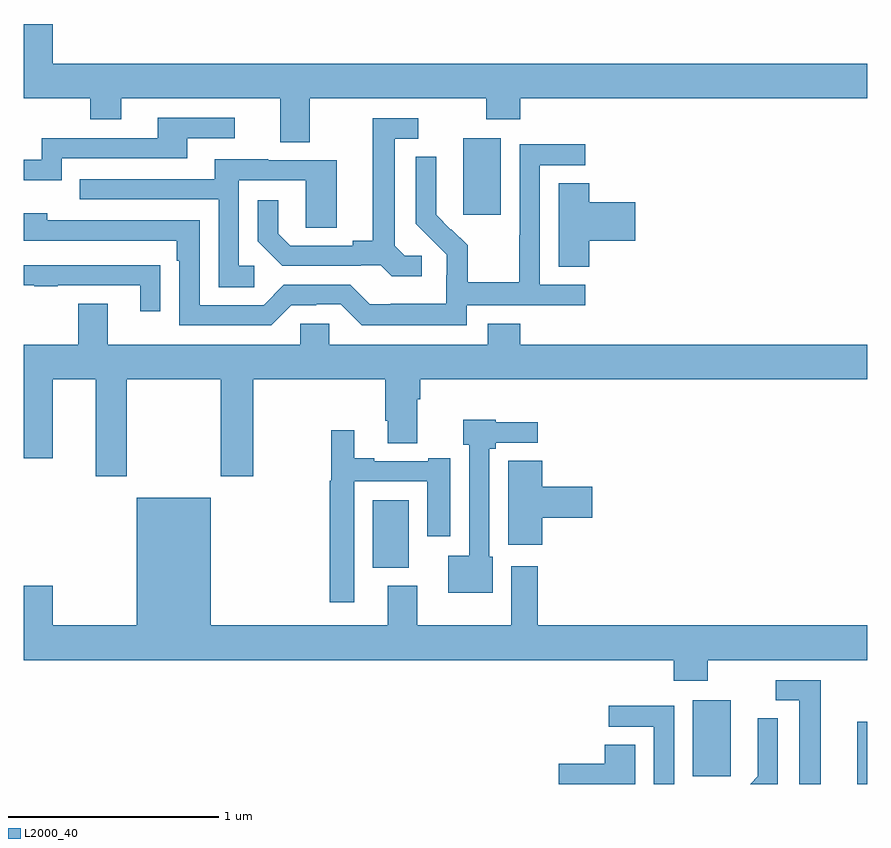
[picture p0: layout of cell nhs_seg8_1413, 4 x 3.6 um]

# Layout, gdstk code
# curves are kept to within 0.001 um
import gdstk
lib = gdstk.Library(unit=1e-6, precision=1e-09)
def R(c, l, rs):  # rectangles x0, y0, x1, y1
    for r in rs: c.add(gdstk.rectangle(r[:2], r[2:], *l))
def P(c, l, *ps):  # polygons
    for p in ps: c.add(gdstk.Polygon(p, *l))
L2000_40 = (2000, 40)

nhs_seg8_1413 = lib.new_cell('nhs_seg8_1413')
R(nhs_seg8_1413, L2000_40, [(204.953,1127.9,205,1128.195), (204.173,1127.937,204.352,1128.298), (202.655,1128.926,202.825,1129.246), (203.084,1130.601,203.263,1130.962)])
P(nhs_seg8_1413, L2000_40, [(202.357,1131.152),(203.194,1131.152),(203.194,1131.053),(203.354,1131.053),(203.354,1131.152),(205,1131.152),(205,1131.316),(201.136,1131.316),(201.136,1131.505),(201,1131.505),(201,1131.152),(201.316,1131.152),(201.316,1131.053),(201.463,1131.053),(201.463,1131.152),(202.217,1131.152),(202.217,1130.944),(202.357,1130.944)],
  [(201.18,1130.868),(201.775,1130.868),(201.775,1130.964),(202,1130.964),(202,1131.06),(201.635,1131.06),(201.635,1130.964),(201.084,1130.964),(201.084,1130.862),(201,1130.862),(201,1130.765),(201.18,1130.765)],
  [(202.888,1130.406),(202.806,1130.406),(202.759,1130.453),(202.759,1130.961),(202.87,1130.961),(202.87,1131.057),(202.655,1131.057),(202.655,1130.477),(202.559,1130.477),(202.559,1130.454),(202.264,1130.454),(202.207,1130.511),(202.207,1130.668),(202.11,1130.668),(202.11,1130.474),(202.226,1130.358),(202.598,1130.358),(202.598,1130.361),(202.692,1130.361),(202.744,1130.309),(202.888,1130.309)],
  [(203.1,1130.172),(203.662,1130.172),(203.662,1130.268),(203.448,1130.268),(203.448,1130.835),(203.662,1130.835),(203.662,1130.934),(203.352,1130.934),(203.352,1130.504),(203.35,1130.504),(203.35,1130.281),(203.105,1130.281),(203.105,1130.455),(203.028,1130.532),(203.025,1130.529),(202.955,1130.6),(202.956,1130.876),(202.86,1130.876),(202.86,1130.558),(203.006,1130.41),(203.006,1130.313),(203.004,1130.313),(203.004,1130.179),(202.741,1130.179),(202.741,1130.175),(202.641,1130.175),(202.548,1130.268),(202.233,1130.268),(202.137,1130.172),(201.834,1130.172),(201.834,1130.574),(201.11,1130.574),(201.11,1130.608),(201,1130.608),(201,1130.478),(201.725,1130.478),(201.725,1130.381),(201.738,1130.381),(201.738,1130.076),(202.173,1130.076),(202.269,1130.172),(202.388,1130.172),(202.388,1130.175),(202.503,1130.175),(202.603,1130.075),(203.1,1130.075)],
  [(202.093,1130.358),(202.02,1130.358),(202.02,1130.763),(202.338,1130.763),(202.338,1130.539),(202.483,1130.539),(202.483,1130.859),(202.159,1130.859),(202.159,1130.863),(201.905,1130.863),(201.905,1130.769),(201.265,1130.769),(201.265,1130.673),(201.924,1130.673),(201.924,1130.257),(202.093,1130.257)],
  [(203.681,1130.477),(203.899,1130.477),(203.899,1130.66),(203.681,1130.66),(203.681,1130.75),(203.537,1130.75),(203.537,1130.353),(203.681,1130.353)],
  [(201.647,1130.36),(201.545,1130.36),(201.545,1130.361),(201,1130.361),(201,1130.265),(201.049,1130.265),(201.049,1130.26),(201.161,1130.26),(201.161,1130.265),(201.551,1130.265),(201.551,1130.142),(201.647,1130.142)],
  [(201.489,1129.82),(201.934,1129.82),(201.934,1129.359),(202.089,1129.359),(202.089,1129.82),(202.715,1129.82),(202.715,1129.624),(202.727,1129.624),(202.727,1129.516),(202.867,1129.516),(202.867,1129.724),(202.88,1129.724),(202.88,1129.82),(205,1129.82),(205,1129.984),(203.354,1129.984),(203.354,1130.083),(203.201,1130.083),(203.201,1129.984),(202.449,1129.984),(202.449,1130.082),(202.311,1130.082),(202.311,1129.984),(201.397,1129.984),(201.397,1130.179),(201.257,1130.179),(201.257,1129.984),(201,1129.984),(201,1129.446),(201.136,1129.446),(201.136,1129.82),(201.341,1129.82),(201.341,1129.359),(201.489,1129.359)],
  [(203.224,1128.978),(203.208,1128.978),(203.208,1129.49),(203.238,1129.49),(203.238,1129.518),(203.437,1129.518),(203.437,1129.616),(203.238,1129.616),(203.238,1129.627),(203.084,1129.627),(203.084,1129.509),(203.112,1129.509),(203.112,1128.982),(203.012,1128.982),(203.012,1128.806),(203.224,1128.806)],
  [(202.566,1129.335),(202.913,1129.335),(202.913,1129.074),(203.023,1129.074),(203.023,1129.444),(202.919,1129.444),(202.919,1129.431),(202.663,1129.431),(202.663,1129.444),(202.567,1129.444),(202.567,1129.579),(202.458,1129.579),(202.458,1129.338),(202.45,1129.338),(202.45,1128.762),(202.566,1128.762)],
  [(203.459,1129.163),(203.695,1129.163),(203.695,1129.31),(203.459,1129.31),(203.459,1129.433),(203.297,1129.433),(203.297,1129.035),(203.459,1129.035)],
  [(204.243,1128.488),(205,1128.488),(205,1128.652),(203.438,1128.652),(203.438,1128.934),(203.312,1128.934),(203.312,1128.652),(202.867,1128.652),(202.867,1128.841),(202.727,1128.841),(202.727,1128.652),(201.886,1128.652),(201.886,1129.258),(201.536,1129.258),(201.536,1128.652),(201.136,1128.652),(201.136,1128.841),(201,1128.841),(201,1128.488),(204.083,1128.488),(204.083,1128.389),(204.243,1128.389)],
  [(204.781,1128.393),(204.567,1128.393),(204.567,1128.297),(204.677,1128.297),(204.677,1127.9),(204.781,1127.9)],
  [(204.084,1128.27),(203.775,1128.27),(203.775,1128.171),(203.988,1128.171),(203.988,1127.9),(204.084,1127.9)],
  [(204.576,1128.212),(204.48,1128.212),(204.48,1128.058),(204.482,1128.058),(204.482,1127.936),(204.446,1127.9),(204.576,1127.9)],
  [(203.899,1128.086),(203.756,1128.086),(203.756,1127.996),(203.538,1127.996),(203.538,1127.9),(203.899,1127.9)])

lib.write_gds('nhs_seg8_1413.gds')
